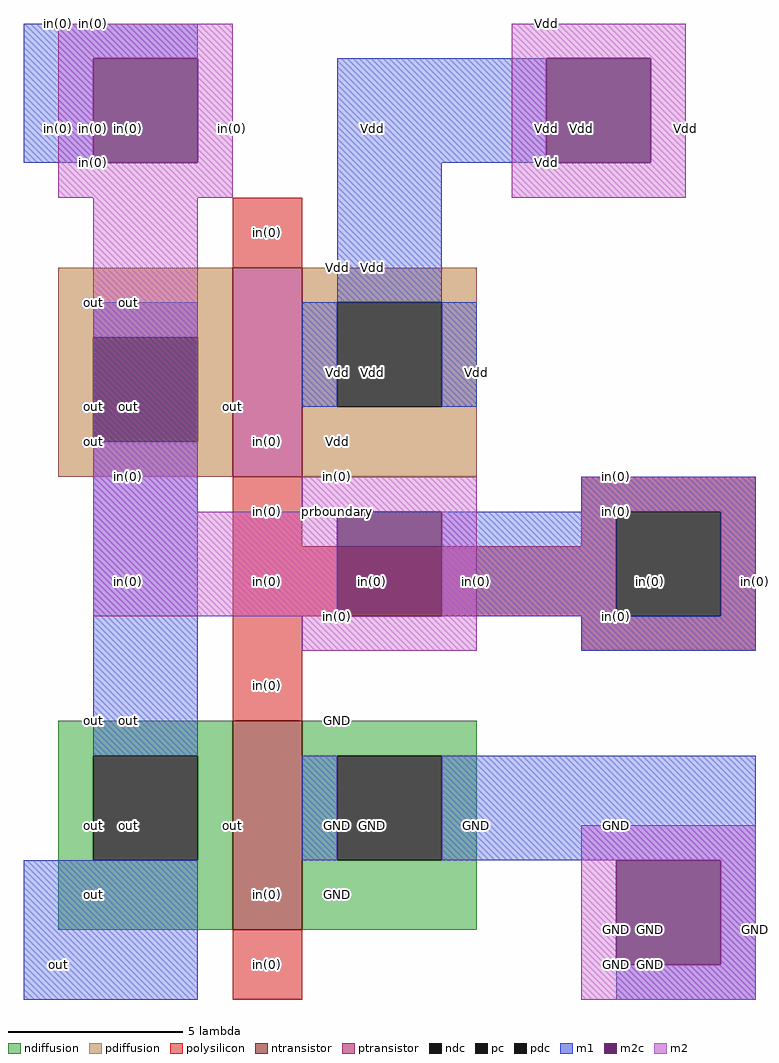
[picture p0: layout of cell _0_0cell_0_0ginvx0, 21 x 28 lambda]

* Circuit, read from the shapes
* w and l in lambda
.subckt _0_0cell_0_0ginvx0 in(0) out
M1 GND in(0) out VSUBS nfet w=6 l=2
M2 Vdd in(0) out NWELL pfet w=6 l=2
.ends

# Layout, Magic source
magic
tech sky130l
<< ndiffusion >>
rect 8 11 13 12
rect 8 8 9 11
rect 12 8 13 11
rect 8 6 13 8
rect 15 11 20 12
rect 15 8 16 11
rect 19 8 20 11
rect 15 6 20 8
<< ndc >>
rect 9 8 12 11
rect 16 8 19 11
<< ntransistor >>
rect 13 6 15 12
<< pdiffusion >>
rect 8 23 13 25
rect 8 20 9 23
rect 12 20 13 23
rect 8 19 13 20
rect 15 24 20 25
rect 15 21 16 24
rect 19 21 20 24
rect 15 19 20 21
<< pdc >>
rect 9 20 12 23
rect 16 21 19 24
<< ptransistor >>
rect 13 19 15 25
<< polysilicon >>
rect 13 25 15 27
rect 13 17 15 19
rect 23 18 28 19
rect 23 17 24 18
rect 13 15 24 17
rect 27 15 28 18
rect 13 12 15 15
rect 23 14 28 15
rect 13 4 15 6
<< pc >>
rect 24 15 27 18
<< m1 >>
rect 7 31 12 32
rect 7 28 9 31
rect 16 28 22 31
rect 16 24 19 28
rect 9 23 12 24
rect 15 21 16 24
rect 19 21 20 24
rect 9 11 12 20
rect 23 18 28 19
rect 19 15 24 18
rect 27 15 28 18
rect 23 14 28 15
rect 15 8 16 11
rect 19 8 28 11
rect 7 4 12 8
rect 27 5 28 8
rect 24 4 28 5
<< m2c >>
rect 9 28 12 31
rect 22 28 25 31
rect 16 15 19 18
rect 24 5 27 8
<< m2 >>
rect 8 31 13 32
rect 8 28 9 31
rect 12 28 13 31
rect 8 27 13 28
rect 21 31 26 32
rect 21 28 22 31
rect 25 28 26 31
rect 21 27 26 28
rect 9 18 12 27
rect 15 18 20 19
rect 9 15 16 18
rect 19 15 20 18
rect 15 14 20 15
rect 23 8 28 9
rect 23 5 24 8
rect 27 5 28 8
rect 23 4 28 5
<< labels >>
rlabel space 0 0 32 36 6 prboundary
rlabel polysilicon 24 18 24 18 3 in(0)
rlabel ndiffusion 16 7 16 7 3 GND
rlabel ndiffusion 16 12 16 12 3 GND
rlabel ndiffusion 13 9 13 9 3 out
rlabel pdiffusion 16 20 16 20 3 Vdd
rlabel pdiffusion 16 25 16 25 3 Vdd
rlabel pdiffusion 13 21 13 21 3 out
rlabel polysilicon 14 5 14 5 3 in(0)
rlabel ntransistor 14 7 14 7 3 in(0)
rlabel polysilicon 14 13 14 13 3 in(0)
rlabel polysilicon 14 16 14 16 3 in(0)
rlabel polysilicon 14 18 14 18 3 in(0)
rlabel ptransistor 14 20 14 20 3 in(0)
rlabel polysilicon 14 26 14 26 3 in(0)
rlabel ndiffusion 9 7 9 7 3 out
rlabel ndiffusion 9 9 9 9 3 out
rlabel ndiffusion 9 12 9 12 3 out
rlabel pdiffusion 9 20 9 20 3 out
rlabel pdiffusion 9 21 9 21 3 out
rlabel pdiffusion 9 24 9 24 3 out
rlabel m1 28 16 28 16 3 in(0)
port 1 e
rlabel m1 24 15 24 15 3 in(0)
port 1 e
rlabel pc 25 16 25 16 3 in(0)
port 1 e
rlabel m1 24 19 24 19 3 in(0)
port 1 e
rlabel m1 20 9 20 9 3 GND
rlabel m1 20 22 20 22 3 Vdd
rlabel ndc 17 9 17 9 3 GND
rlabel pdc 17 22 17 22 3 Vdd
rlabel m1 17 25 17 25 3 Vdd
rlabel m1 17 29 17 29 3 Vdd
rlabel m1 16 9 16 9 3 GND
rlabel m1 16 22 16 22 3 Vdd
rlabel m1 25 5 25 5 3 GND
rlabel ndc 10 9 10 9 3 out
port 2 e
rlabel m1 10 12 10 12 3 out
port 2 e
rlabel pdc 10 21 10 21 3 out
port 2 e
rlabel m1 10 24 10 24 3 out
port 2 e
rlabel m1 8 5 8 5 3 out
port 2 e
rlabel m1 8 29 8 29 3 in(0)
port 1 e
rlabel m1 8 32 8 32 3 in(0)
port 1 e
rlabel m2 28 6 28 6 3 GND
rlabel m2 26 29 26 29 3 Vdd
rlabel m2c 25 6 25 6 3 GND
rlabel m2 22 28 22 28 3 Vdd
rlabel m2c 23 29 23 29 3 Vdd
rlabel m2 24 5 24 5 3 GND
rlabel m2 24 6 24 6 3 GND
rlabel m2 24 9 24 9 3 GND
rlabel m2 22 29 22 29 3 Vdd
rlabel m2 20 16 20 16 3 in(0)
port 1 e
rlabel m2 16 19 16 19 3 in(0)
port 1 e
rlabel m2 16 15 16 15 3 in(0)
port 1 e
rlabel m2c 17 16 17 16 3 in(0)
port 1 e
rlabel m2 13 29 13 29 3 in(0)
port 1 e
rlabel m2 22 32 22 32 3 Vdd
rlabel m2 10 16 10 16 3 in(0)
port 1 e
rlabel m2 10 19 10 19 3 in(0)
port 1 e
rlabel m2c 10 29 10 29 3 in(0)
port 1 e
rlabel m2 9 28 9 28 3 in(0)
port 1 e
rlabel m2 9 29 9 29 3 in(0)
port 1 e
rlabel m2 9 32 9 32 3 in(0)
port 1 e
<< end >>
